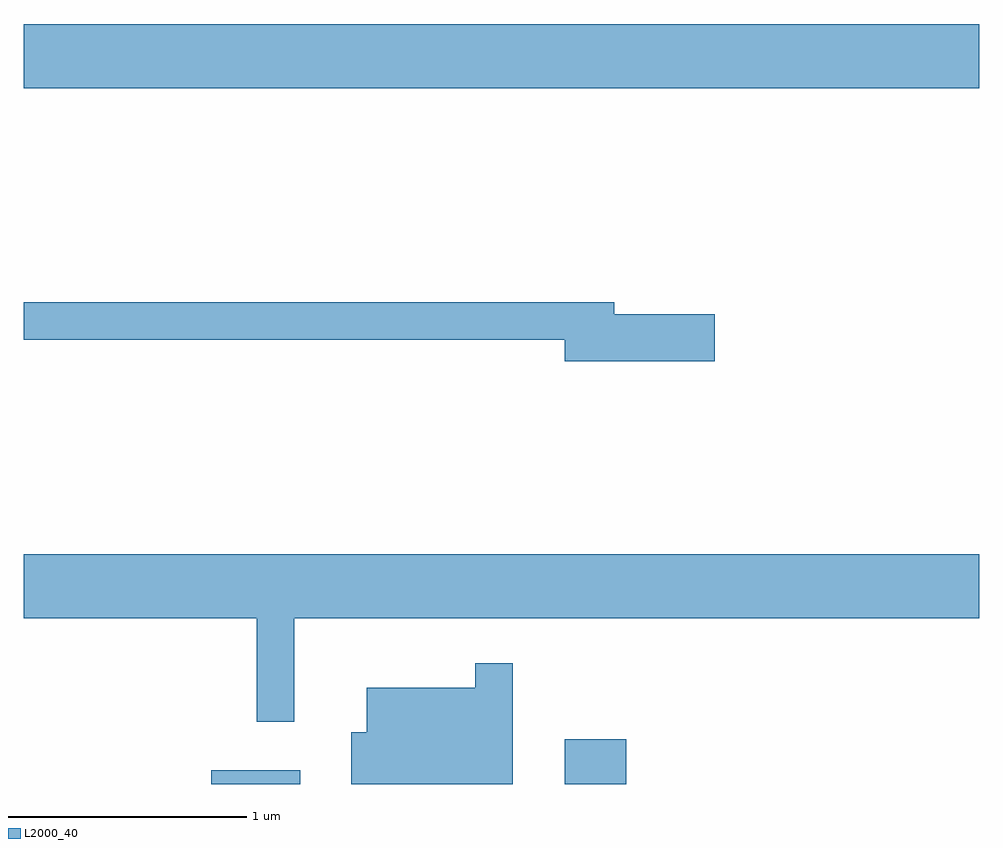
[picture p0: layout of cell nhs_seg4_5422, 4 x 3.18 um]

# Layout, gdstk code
import gdstk
lib = gdstk.Library(unit=1e-6, precision=1e-09)
def R(c, l, rs):  # rectangles x0, y0, x1, y1
    for r in rs: c.add(gdstk.rectangle(r[:2], r[2:], *l))
def P(c, l, *ps):  # polygons
    for p in ps: c.add(gdstk.Polygon(p, *l))
L2000_40 = (2000, 40)

nhs_seg4_5422 = lib.new_cell('nhs_seg4_5422')
R(nhs_seg4_5422, L2000_40, [(344.396,1353.982,344.769,1354.039), (345.876,1353.982,346.134,1354.169), (343.611,1356.896,347.611,1357.164)])
P(nhs_seg4_5422, L2000_40, [(346.504,1355.949),(346.084,1355.949),(346.084,1355.999),(343.611,1355.999),(343.611,1355.841),(345.876,1355.841),(345.876,1355.751),(346.504,1355.751)],
  [(343.611,1354.676),(344.586,1354.676),(344.586,1354.243),(344.744,1354.243),(344.744,1354.676),(347.611,1354.676),(347.611,1354.944),(343.611,1354.944)],
  [(345.659,1354.488),(345.501,1354.488),(345.501,1354.384),(345.046,1354.384),(345.046,1354.199),(344.981,1354.199),(344.981,1353.982),(345.659,1353.982)])

lib.write_gds('nhs_seg4_5422.gds')
